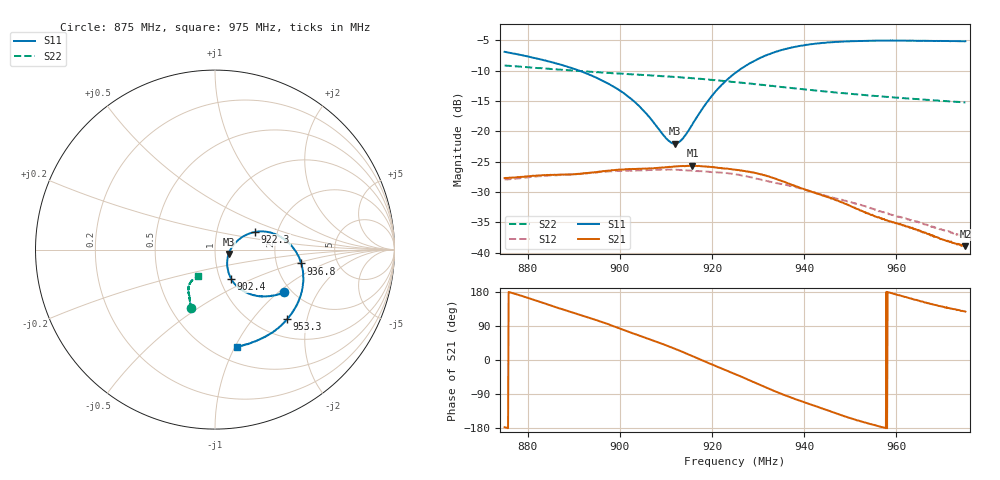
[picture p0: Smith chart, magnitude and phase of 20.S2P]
! C:\Users\rflab\Downloads\Lab5_KD_ZW\Q3\20.S2P
! Touchstone 1.1 file saved by VNA.EXE V1.65 (www.ke5fx.com/gpib/readme.htm)
! 11/18/2024 10:20:59 PM
!  Source: HEWLETT PACKARD,8753D,0,6.14
!  Min freq: 8.750000E+008 Hz
!  Max freq: 9.750200E+008 Hz
!  Points: 801
!  Params: S11 S21 S12 S22
# GHZ S MA R 50
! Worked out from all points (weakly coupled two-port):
!   801 points, 875 MHz to 975 MHz, reference 50 ohm
!   highest |S21| = -25.64 dB at 915.8 MHz (marker M1); lowest = -38.9 dB at 975 MHz (marker M2)
!   lowest |S11| = -22.0 dB at 912 MHz (marker M3), VSWR 1.17, Z = 58.1 - j2.78 ohm
!   |S11| at or under -10 dB: 891.3 MHz to 925.7 MHz (34.4 MHz wide, 3.79 % of centre)
!   |S22| runs from -15.2 to -9.1 dB; largest |S21 - S12| = 0.0096
!   S11 on the Smith chart (normalised r, x): 875 MHz: 1.83, -1.10; 902.4 MHz: 1.13, -0.38; 922.3 MHz: 1.54, +0.32; 936.8 MHz: 2.76, -0.56; 953.3 MHz: 1.36, -1.53; 975 MHz: 0.65, -1.02
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0.875  0.4536 -31.8  0.04127 -177.4  0.04021 -166.9  0.3492 -112.0
0.8842518  0.38 -43.2  0.04385 147.1  0.04333 155.6  0.3289 -114.8
0.8917534  0.3118 -52.2  0.0449 117.7  0.04472 124.7  0.3143 -116.6
0.8978796  0.2434 -58.7  0.04751 92.5  0.04693 98.2  0.3036 -117.8
0.9023805  0.187 -61.1  0.04904 72.7  0.04742 78.1  0.2967 -118.9
0.9053811  0.1455 -59.2  0.04937 59.5  0.048 64.5  0.2914 -119.6
0.9083817  0.1053 -49.9  0.05014 46.4  0.04825 50.8  0.2874 -120.5
0.9105071  0.08459 -34.2  0.05083 36.5  0.04846 40.8  0.2833 -121.0
0.9120074  0.07909 -17.5  0.05153 29.5  0.04818 33.4  0.2812 -121.3
0.9135077  0.086 -0.0  0.05192 21.9  0.04799 26.2  0.2783 -121.9
0.9157582  0.1145 17.2  0.05223 10.4  0.04738 15.5  0.2748 -122.5
0.9190088  0.1755 25.0  0.05122 -6.5  0.04668 0.3  0.2677 -123.5
0.9222594  0.2447 23.7  0.0499 -23.3  0.04563 -15.4  0.2615 -124.3
0.92501  0.3027 19.2  0.04843 -37.1  0.04455 -29.3  0.2557 -125.1
0.9306361  0.4069 6.2  0.04424 -66.6  0.04017 -56.3  0.2421 -126.1
0.9367623  0.4862 -9.2  0.03714 -97.4  0.03571 -83.6  0.2292 -126.6
0.9417633  0.5254 -20.7  0.03163 -118.6  0.03172 -106.1  0.2188 -126.7
0.9472645  0.5474 -32.6  0.02696 -142.0  0.02774 -127.8  0.2087 -126.4
0.9532656  0.5579 -43.9  0.02142 -164.8  0.0242 -152.6  0.1993 -125.8
0.9583917  0.5615 -52.6  0.01825 178.5  0.02077 -171.7  0.1922 -125.2
0.9667684  0.5579 -65.5  0.0143 150.4  0.01687 158.6  0.1823 -123.9
0.97502  0.5541 -77.1  0.01133 127.8  0.01361 131.3  0.1733 -122.2
